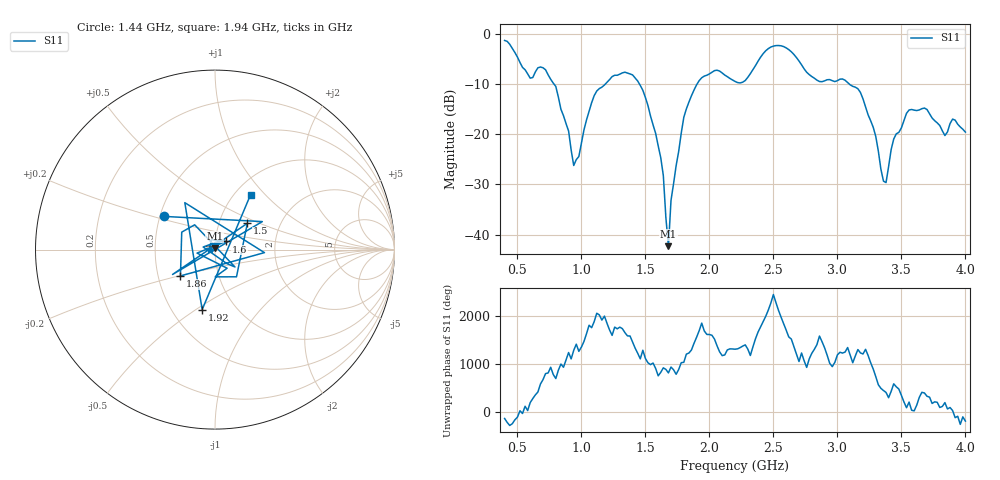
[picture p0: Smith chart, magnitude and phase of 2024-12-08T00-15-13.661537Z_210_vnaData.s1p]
!Created with skrf (http://scikit-rf.org).
# Hz S RI R 50.0
!freq ReS11 ImS11
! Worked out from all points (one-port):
!   181 points, 400 MHz to 4 GHz, reference 50 ohm
!   lowest |S11| = -42.3 dB at 1.68 GHz (marker M1), VSWR 1.02, Z = 49.9 + j0.759 ohm
!   |S11| at or under -10 dB: 785.7 MHz to 1.187 GHz (401 MHz wide, 40.7 % of centre); 1.454 GHz to 1.904 GHz (449.9 MHz wide, 26.8 % of centre); 3.093 GHz to end of sweep
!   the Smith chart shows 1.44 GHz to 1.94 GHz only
!   S11 on the Smith chart (normalised r, x): 1.44 GHz: 0.53, +0.22; 1.5 GHz: 1.36, +0.42; 1.6 GHz: 1.13, +0.10; 1.86 GHz: 0.65, -0.20; 1.92 GHz: 0.70, -0.53; 1.94 GHz: 1.18, +0.83
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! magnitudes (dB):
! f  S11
! 400 MHz  -1.3
! 600 MHz  -8.8
! 720 MHz  -7.2
! 860 MHz  -16.3
! 940 MHz  -26.2
! 1.1 GHz  -12.3
! 1.3 GHz  -8.0
! 1.44 GHz  -9.4
! 1.5 GHz  -12.7
! 1.6 GHz  -22.3
! 1.64 GHz  -28.2
! 1.68 GHz  -42.3
! 1.7 GHz  -33.2
! 1.76 GHz  -23.4
! 1.8 GHz  -16.6
! 1.86 GHz  -12.3
! 1.92 GHz  -9.3
! 1.94 GHz  -8.7
! 2.2 GHz  -9.5
! 2.48 GHz  -2.6
! 2.66 GHz  -4.1
! 2.84 GHz  -9.2
! 3.1 GHz  -10.2
! 3.2 GHz  -13.0
! 3.38 GHz  -29.6
! 3.44 GHz  -21.0
! 3.56 GHz  -15.2
! 4 GHz  -19.6
